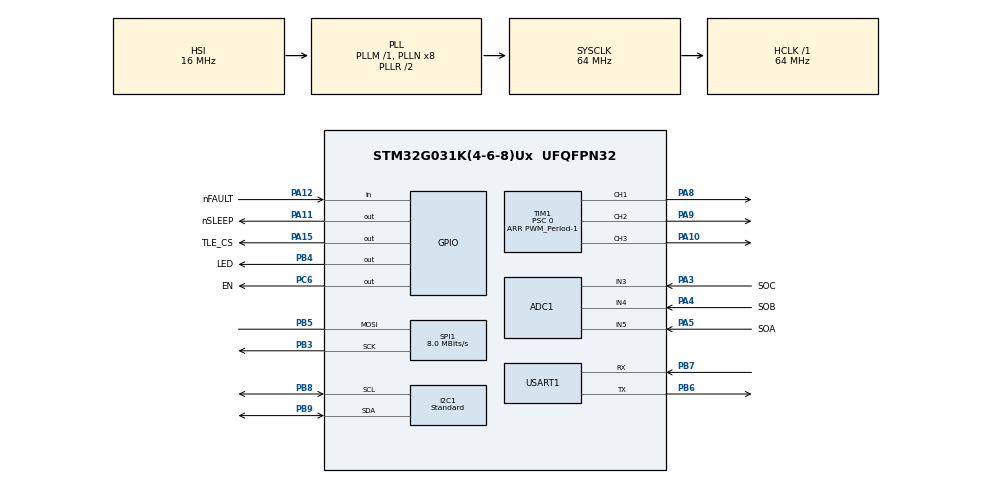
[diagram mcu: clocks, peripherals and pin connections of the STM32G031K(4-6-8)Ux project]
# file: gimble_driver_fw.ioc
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ADC1.Channel-0\#ChannelRegularConversion=ADC_CHANNEL_3
ADC1.Channel-1\#ChannelRegularConversion=ADC_CHANNEL_4
ADC1.Channel-2\#ChannelRegularConversion=ADC_CHANNEL_5
ADC1.Channel-3\#ChannelRegularConversion=ADC_CHANNEL_TEMPSENSOR
ADC1.Channel-4\#ChannelRegularConversion=ADC_CHANNEL_VREFINT
ADC1.ChannelTS=ADC_CHANNEL_TEMPSENSOR
ADC1.ChannelVREF=ADC_CHANNEL_VREFINT
ADC1.ClockPrescaler=ADC_CLOCK_SYNC_PCLK_DIV4
ADC1.ContinuousConvMode=DISABLE
ADC1.DMAContinuousRequests=ENABLE
ADC1.ExternalTrigConv=ADC_EXTERNALTRIG_T1_TRGO2
ADC1.ExternalTrigConvEdge=ADC_EXTERNALTRIGCONVEDGE_RISING
ADC1.NbrOfConversion=5
ADC1.NbrOfConversionFlag=1
ADC1.OversamplingMode=DISABLE
ADC1.Rank-0\#ChannelRegularConversion=1
ADC1.Rank-1\#ChannelRegularConversion=2
ADC1.Rank-2\#ChannelRegularConversion=3
ADC1.Rank-3\#ChannelRegularConversion=4
ADC1.Rank-4\#ChannelRegularConversion=5
ADC1.SamplingTime-0\#ChannelRegularConversion=ADC_SAMPLINGTIME_COMMON_1
ADC1.SamplingTime-1\#ChannelRegularConversion=ADC_SAMPLINGTIME_COMMON_1
ADC1.SamplingTime-2\#ChannelRegularConversion=ADC_SAMPLINGTIME_COMMON_1
ADC1.SamplingTime-3\#ChannelRegularConversion=ADC_SAMPLINGTIME_COMMON_1
ADC1.SamplingTime-4\#ChannelRegularConversion=ADC_SAMPLINGTIME_COMMON_1
ADC1.SamplingTimeCommon1=ADC_SAMPLETIME_39CYCLES_5
ADC1.SelectedChannel=ADC_CHANNEL_3|ADC_CHANNEL_4|ADC_CHANNEL_5|ADC_CHANNEL_TEMPSENSOR|ADC_CHANNEL_VREFINT
ADC1.TriggerFrequencyMode=ADC_TRIGGER_FREQ_HIGH
ADC1.master=1
Dma.ADC1.0.Direction=DMA_PERIPH_TO_MEMORY
Dma.ADC1.0.EventEnable=DISABLE
Dma.ADC1.0.Instance=DMA1_Channel1
Dma.ADC1.0.MemDataAlignment=DMA_MDATAALIGN_HALFWORD
Dma.ADC1.0.MemInc=DMA_MINC_ENABLE
Dma.ADC1.0.Mode=DMA_CIRCULAR
Dma.ADC1.0.PeriphDataAlignment=DMA_PDATAALIGN_HALFWORD
Dma.ADC1.0.PeriphInc=DMA_PINC_DISABLE
Dma.ADC1.0.Polarity=HAL_DMAMUX_REQ_GEN_RISING
Dma.ADC1.0.Priority=DMA_PRIORITY_HIGH
Dma.ADC1.0.RequestNumber=1
Dma.ADC1.0.SignalID=NONE
Dma.ADC1.0.SyncEnable=DISABLE
Dma.ADC1.0.SyncPolarity=HAL_DMAMUX_SYNC_NO_EVENT
Dma.ADC1.0.SyncRequestNumber=1
Dma.ADC1.0.SyncSignalID=NONE
Dma.Request0=ADC1
I2C1.I2C_Speed_Mode=I2C_Standard
I2C1.OwnAddress=I2C_ADD<<1
I2C1.Timing=0x10707DBC
Mcu.Family=STM32G0
Mcu.Name=STM32G031K(4-6-8)Ux
Mcu.Package=UFQFPN32
Mcu.UserConstants=PWM_Period,1280;I2C_ADD,0x10
NVIC.DMA1_Channel1_IRQn=true\:3\:0\:true\:false\:true\:false\:true
NVIC.I2C1_IRQn=true\:1\:0\:true\:false\:true\:true\:true
NVIC.TIM2_IRQn=true\:2\:0\:true\:false\:true\:true\:true
PA10.Signal=S_TIM1_CH3
PA11\ [PA9].GPIO_Label=nSLEEP
PA11\ [PA9].PinState=GPIO_PIN_SET
PA11\ [PA9].Signal=GPIO_Output
PA12\ [PA10].GPIO_Label=nFAULT
PA12\ [PA10].Signal=GPIO_Input
PA13.Mode=Serial_Wire
PA13.Signal=SYS_SWDIO
PA14-BOOT0.Mode=Serial_Wire
PA14-BOOT0.Signal=SYS_SWCLK
PA15.GPIO_Label=TLE_CS
PA15.Signal=GPIO_Output
PA3.GPIO_Label=SOC
PA3.Mode=IN3
PA3.Signal=ADC1_IN3
PA4.GPIO_Label=SOB
PA4.Mode=IN4
PA4.Signal=ADC1_IN4
PA5.GPIO_Label=SOA
PA5.Mode=IN5
PA5.Signal=ADC1_IN5
PA8.Signal=S_TIM1_CH1
PA9.Signal=S_TIM1_CH2
PB3.Mode=Simplex_Bidirectional_Master
PB3.Signal=SPI1_SCK
PB4.GPIO_Label=LED
PB4.Signal=GPIO_Output
PB5.Mode=Simplex_Bidirectional_Master
PB5.Signal=SPI1_MOSI
PB6.Mode=Asynchronous
PB6.Signal=USART1_TX
PB7.Mode=Asynchronous
PB7.Signal=USART1_RX
PB8.Mode=I2C
PB8.Signal=I2C1_SCL
PB9.Mode=I2C
PB9.Signal=I2C1_SDA
PC6.GPIO_Label=EN
PC6.GPIO_PuPd=GPIO_NOPULL
PC6.Signal=GPIO_Output
ProjectManager.HeapSize=0x200
ProjectManager.StackSize=0x400
ProjectManager.TargetToolchain=MDK-ARM V5.27
RCC.ADCFreq_Value=64000000
RCC.AHBFreq_Value=64000000
RCC.CortexFreq_Value=64000000
RCC.EXTERNAL_CLOCK_VALUE=12288000
RCC.HCLKFreq_Value=64000000
RCC.HSE_VALUE=8000000
RCC.HSI_VALUE=16000000
RCC.LSE_VALUE=32768
RCC.SYSCLKFreq_VALUE=64000000
RCC.SYSCLKSource=RCC_SYSCLKSOURCE_PLLCLK
RCC.VCOOutputFreq_Value=128000000
SH.S_TIM1_CH1.0=TIM1_CH1,PWM Generation1 CH1
SH.S_TIM1_CH2.0=TIM1_CH2,PWM Generation2 CH2
SH.S_TIM1_CH3.0=TIM1_CH3,PWM Generation3 CH3
SPI1.BaudRatePrescaler=SPI_BAUDRATEPRESCALER_8
SPI1.CLKPhase=SPI_PHASE_2EDGE
SPI1.CRCCalculation=SPI_CRCCALCULATION_DISABLE
SPI1.CalculateBaudRate=8.0 MBits/s
SPI1.DataSize=SPI_DATASIZE_16BIT
SPI1.Direction=SPI_DIRECTION_1LINE
SPI1.Mode=SPI_MODE_MASTER
SPI1.VirtualType=VM_MASTER
TIM1.AutoReloadPreload=TIM_AUTORELOAD_PRELOAD_ENABLE
TIM1.Channel-Output\ Compare4\ No\ Output=TIM_CHANNEL_4
TIM1.Channel-PWM\ Generation1\ CH1=TIM_CHANNEL_1
TIM1.Channel-PWM\ Generation2\ CH2=TIM_CHANNEL_2
TIM1.Channel-PWM\ Generation3\ CH3=TIM_CHANNEL_3
TIM1.CounterMode=TIM_COUNTERMODE_CENTERALIGNED1
TIM1.OC4Preload=ENABLE
TIM1.OCIdleState_4=TIM_OCIDLESTATE_RESET
TIM1.OCMode_4=TIM_OCMODE_TOGGLE
TIM1.OCPolarity_4=TIM_OCPOLARITY_HIGH
TIM1.Period=PWM_Period-1
TIM1.Prescaler=0
TIM1.Pulse-Output\ Compare4\ No\ Output=PWM_Period-5
TIM1.RepetitionCounter=1
TIM1.TIM_MasterOutputTrigger=TIM_TRGO_RESET
TIM1.TIM_MasterOutputTrigger2=TIM_TRGO2_OC4REF
TIM2.Period=1000-1
TIM2.Prescaler=64-1
USART1.VirtualMode-Asynchronous=VM_ASYNC
VP_ADC1_TempSens_Input.Mode=IN-TempSens
VP_ADC1_Vref_Input.Mode=IN-Vrefint
VP_SYS_VS_PIN8REMAP.Mode=PIN8REMAP
VP_TIM1_VS_ClockSourceINT.Mode=Internal
VP_TIM1_VS_no_output4.Mode=Output Compare4 No Output
VP_TIM2_VS_ClockSourceINT.Mode=Internal
board=custom

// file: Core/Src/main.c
/* USER CODE BEGIN Header */
/**
  ******************************************************************************
  * @file           : main.c
  * @brief          : Main program body
  ******************************************************************************
  * @attention
  *
  * Copyright (c) 2022 STMicroelectronics.
  * All rights reserved.
  *
  * This software is licensed under terms that can be found in the LICENSE file
  * in the root directory of this software component.
  * If no LICENSE file comes with this software, it is provided AS-IS.
  *
  ******************************************************************************
  */
/* USER CODE END Header */
#include "main.h"
#include "adc.h"
#include "dma.h"
#include "i2c.h"
#include "spi.h"
#include "tim.h"
#include "usart.h"
#include "gpio.h"

/* USER CODE BEGIN PV */
uint32_t time_cntr;
float target;
uint8_t controller_state, controller_error, motor_en;
uint8_t i2c_rx_buf[10];
uint8_t flag_500ms=0;
uint8_t running_state=0, error_code=0;

union flash_save
{
	struct
	{
		float val_f[10];
		uint8_t val_u8[8];
		float zero_electric_angle;
		int16_t sensor_direction;
		int16_t pole_pairs;
	}data;
	uint64_t buf[7];
}flash_save;
/* USER CODE END PV */

void SystemClock_Config(void);

int main(void)
{

  /* MCU Configuration--------------------------------------------------------*/

  /* Reset of all peripherals, Initializes the Flash interface and the Systick. */
  HAL_Init();

  /* Configure the system clock */
  SystemClock_Config();

  /* Initialize all configured peripherals */
  MX_GPIO_Init();
  MX_DMA_Init();
  MX_ADC1_Init();
  MX_I2C1_Init();
  MX_SPI1_Init();
  MX_TIM1_Init();
  MX_TIM2_Init();
  MX_USART1_UART_Init();
  /* USER CODE BEGIN 2 */
	HAL_TIM_PWM_Start(&htim1, TIM_CHANNEL_1);
	HAL_TIM_PWM_Start(&htim1, TIM_CHANNEL_2);
	HAL_TIM_PWM_Start(&htim1, TIM_CHANNEL_3);
	HAL_TIM_PWM_Start(&htim1, TIM_CHANNEL_4);
	HAL_TIM_Base_Start_IT(&htim2);

	HAL_ADC_Start_DMA(&hadc1, (uint32_t *)&adc_buf, 5);
	HAL_I2C_EnableListen_IT(&hi2c1);

	HAL_Delay(500);

	MagneticSensor_Init();
	LowsideCurrentSense(0.001,20,2,1,0);
	LowsideCurrentSense_Init();

	LPF_init();
	PID_init();

	voltage_power_supply=12;    //V
	voltage_limit=6.9;          //V，最大值需小于12/1.732=6.9，航模电机设置的小一点，不超过2；云台电机设置的大一点，不小于2，电压越大能达到的转速就越大
	velocity_limit=100;         //rad/s angleOpenloop() use it
	current_limit=2;            //A，foc_current和dc_current模式限制电流，不能为0。速度模式和位置模式起作用
	voltage_sensor_align=2;     //V     alignSensor() and driverAlign() use it，大功率电机0.5-1，小功率电机2-3
	torque_controller=Type_foc_current;
	motion_controller=Type_angle;
	target=0;

	STMFLASH_Read(FLASH_SECTOR31_START, flash_save.buf, 6);
	if(flash_save.data.val_u8[7]!=0xAA)
	{
		flash_save.data.val_f[0]=voltage_limit;
		flash_save.data.val_f[1]=velocity_limit;
		flash_save.data.val_f[2]=current_limit;
		flash_save.data.val_f[3]=voltage_sensor_align;
		flash_save.data.val_f[4]=PID_angle.P;
		flash_save.data.val_f[5]=PID_velocity.P;
		flash_save.data.val_f[6]=PID_velocity.I;
		flash_save.data.val_f[7]=PID_velocity.D;
		flash_save.data.val_f[8]=PID_current_q.P;
		flash_save.data.val_u8[0]=(uint8_t)torque_controller;
		flash_save.data.val_u8[1]=(uint8_t)motion_controller;
		flash_save.data.val_u8[7]=0xAA;
		STMFLASH_Write(FLASH_SECTOR31_START, flash_save.buf, 6);
	}
	else
	{
		voltage_limit       =flash_save.data.val_f[0];
		velocity_limit      =flash_save.data.val_f[1];
		current_limit       =flash_save.data.val_f[2];
		voltage_sensor_align=flash_save.data.val_f[3];
		PID_angle.P         =flash_save.data.val_f[4];
		PID_velocity.P      =flash_save.data.val_f[5];
		PID_velocity.I      =flash_save.data.val_f[6];
		PID_velocity.D      =flash_save.data.val_f[7];
		PID_current_q.P     =flash_save.data.val_f[8];
		torque_controller=(TorqueControlType)flash_save.data.val_u8[0];
		motion_controller=(MotionControlType)flash_save.data.val_u8[1];
	}

	Motor_init();
	STMFLASH_Read(FLASH_SECTOR30_START, &flash_save.buf[6], 1);
	if(flash_save.buf[6]==0xFFFFFFFFFFFFFFFF)
		Motor_initFOC(0,UNKNOWN);
	else
	{
		pole_pairs=(int)flash_save.data.pole_pairs;
		Motor_initFOC(flash_save.data.zero_electric_angle,(Direction)flash_save.data.sensor_direction);
	}

	running_state=1;
	motor_en=1;
  /* USER CODE END 2 */

  /* Infinite loop */
  /* USER CODE BEGIN WHILE */
  while (1)
  {
		if(motor_en)
		{
			move(target);
			loopFOC();
		}
		else
		{
			shaft_angle = shaftAngle();
		}
    /* USER CODE END WHILE */

    /* USER CODE BEGIN 3 */
		if(flag_500ms)
		{
			HAL_GPIO_TogglePin(LED_GPIO_Port, LED_Pin);
			flag_500ms=0;
		}
  }
  /* USER CODE END 3 */
}

void SystemClock_Config(void)
{
  RCC_OscInitTypeDef RCC_OscInitStruct = {0};
  RCC_ClkInitTypeDef RCC_ClkInitStruct = {0};

  /** Configure the main internal regulator output voltage
  */
  HAL_PWREx_ControlVoltageScaling(PWR_REGULATOR_VOLTAGE_SCALE1);
  /** Initializes the RCC Oscillators according to the specified parameters
  * in the RCC_OscInitTypeDef structure.
  */
  RCC_OscInitStruct.OscillatorType = RCC_OSCILLATORTYPE_HSI;
  RCC_OscInitStruct.HSIState = RCC_HSI_ON;
  RCC_OscInitStruct.HSIDiv = RCC_HSI_DIV1;
  RCC_OscInitStruct.HSICalibrationValue = RCC_HSICALIBRATION_DEFAULT;
  RCC_OscInitStruct.PLL.PLLState = RCC_PLL_ON;
  RCC_OscInitStruct.PLL.PLLSource = RCC_PLLSOURCE_HSI;
  RCC_OscInitStruct.PLL.PLLM = RCC_PLLM_DIV1;
  RCC_OscInitStruct.PLL.PLLN = 8;
  RCC_OscInitStruct.PLL.PLLP = RCC_PLLP_DIV2;
  RCC_OscInitStruct.PLL.PLLQ = RCC_PLLQ_DIV2;
  RCC_OscInitStruct.PLL.PLLR = RCC_PLLR_DIV2;
  if (HAL_RCC_OscConfig(&RCC_OscInitStruct) != HAL_OK)
  {
    Error_Handler();
  }
  /** Initializes the CPU, AHB and APB buses clocks
  */
  RCC_ClkInitStruct.ClockType = RCC_CLOCKTYPE_HCLK|RCC_CLOCKTYPE_SYSCLK
                              |RCC_CLOCKTYPE_PCLK1;
  RCC_ClkInitStruct.SYSCLKSource = RCC_SYSCLKSOURCE_PLLCLK;
  RCC_ClkInitStruct.AHBCLKDivider = RCC_SYSCLK_DIV1;
  RCC_ClkInitStruct.APB1CLKDivider = RCC_HCLK_DIV1;

  if (HAL_RCC_ClockConfig(&RCC_ClkInitStruct, FLASH_LATENCY_2) != HAL_OK)
  {
    Error_Handler();
  }
}

/* USER CODE BEGIN 4 */
uint32_t t_sum=0, inc_num=0;

void HAL_TIM_PeriodElapsedCallback(TIM_HandleTypeDef *htim)
{
	time_cntr++;

	if(time_cntr%500==0)
		flag_500ms=1;

	t_sum = t_sum + __LL_ADC_CALC_TEMPERATURE(v_vref, adc_buf[3], ADC_RESOLUTION_12B);
	inc_num++;
	if(inc_num==200)
	{
		temperature = t_sum / inc_num;
		t_sum = 0;
		inc_num = 0;
	}
}

uint8_t state=0;

union rx_data
{
	float val_f;
	uint32_t val_u32;
	uint16_t val_u16[2];
	uint8_t buf[4];
}rx_data;

union tx_data
{
	float val_f;
	uint32_t val_u32;
	uint16_t val_u16[2];
	uint8_t buf[4];
}tx_data;

void HAL_I2C_ListenCpltCallback(I2C_HandleTypeDef *hi2c)//!
{
	HAL_I2C_EnableListen_IT(hi2c); // slave is ready again
}

void HAL_I2C_AddrCallback(I2C_HandleTypeDef *hi2c, uint8_t TransferDirection, uint16_t AddrMatchCode)
{
	if( TransferDirection==I2C_DIRECTION_TRANSMIT )//need to receive
	{
		if(state==0)//receive reg addr
		{
			HAL_I2C_Slave_Sequential_Receive_IT(hi2c, i2c_rx_buf, 1, I2C_LAST_FRAME);
		}
		else//receive reg data
		{
			HAL_I2C_Slave_Sequential_Receive_IT(&hi2c1, rx_data.buf, 4, I2C_LAST_FRAME);
		}

	}
	else//need to send
	{
		switch (i2c_rx_buf[0])
		{
			case 0x01:
				tx_data.val_f=target;
			break;

			case 0x02:
				tx_data.val_f=shaft_angle;
			break;

			case 0x03:
				tx_data.val_f=shaft_velocity;
			break;

			case 0x04:
				tx_data.val_f=current.q;
			break;

			case 0x05:
				tx_data.val_u32=temperature;
			break;

			case 0x06:
				tx_data.buf[0]=running_state;
				tx_data.buf[1]=error_code;
			break;

			case 0x07:
				tx_data.buf[0]=(uint8_t)torque_controller;
			  tx_data.buf[1]=(uint8_t)motion_controller;
			break;

			case 0x08:
				tx_data.val_f=voltage_power_supply;
			break;

			case 0x09:
				tx_data.val_f=voltage_limit;
			break;

			case 0x10:
				tx_data.val_f=velocity_limit;
			break;

			case 0x11:
				tx_data.val_f=current_limit;
			break;

			case 0x12:
				tx_data.val_f=voltage_sensor_align;
			break;

			case 0x13:
				tx_data.val_f=PID_angle.P;
			break;

			case 0x14:
				tx_data.val_f=PID_velocity.P;
			break;

			case 0x15:
				tx_data.val_f=PID_velocity.I;
			break;

			case 0x16:
				tx_data.val_f=PID_velocity.D;
			break;

			case 0x17:
				tx_data.val_f=PID_current_q.P;
			break;

			default:
			break;
		}
		HAL_I2C_Slave_Seq_Transmit_IT(hi2c, tx_data.buf, 4,  I2C_LAST_FRAME);
		state=0;
	}

}

void HAL_I2C_SlaveRxCpltCallback(I2C_HandleTypeDef *hi2c)
{
	if(state==1)
	{
		switch (i2c_rx_buf[0])
		{
			case 0x01:
				target=rx_data.val_f;
			break;

			case 0x02:
			case 0x03:
			case 0x04:
			case 0x05:
			case 0x06:
			break;

			case 0x07:
				torque_controller=(TorqueControlType)rx_data.buf[0];
				motion_controller=(MotionControlType)rx_data.buf[1];

				if(torque_controller == Type_voltage)
					PID_velocity.limit = voltage_limit;  //速度模式的电流限制
				else
					PID_velocity.limit = current_limit;
			break;

			case 0x08:
				voltage_power_supply=tx_data.val_f;
			break;

			case 0x09:
				voltage_limit=rx_data.val_f;
			break;

			case 0x10:
				velocity_limit=rx_data.val_f;
			break;

			case 0x11:
				current_limit=rx_data.val_f;
			break;

			case 0x12:
				voltage_sensor_align=rx_data.val_f;
			break;

			case 0x13:
				PID_angle.P=rx_data.val_f;
			break;

			case 0x14:
				PID_velocity.P=rx_data.val_f;
			break;

			case 0x15:
				PID_velocity.I=rx_data.val_f;
			break;

			case 0x16:
				PID_velocity.D=rx_data.val_f;
			break;

			case 0x17:
				PID_velocity.D=rx_data.val_f;
			break;

			default:
			break;
		}
		state=0;
	}
	else
	{
		switch(i2c_rx_buf[0])
		{
			case 0x81:
				if(motor_en)
				{
					running_state=2;
					motor_en=0;
					M1_Disable;
				}
				else
				{
					running_state=1;
					motor_en=1;
					M1_Enable;
					target=shaft_angle;
				}
			break;

			case 0x82:
				flash_save.data.val_f[0]=voltage_limit;
				flash_save.data.val_f[1]=velocity_limit;
				flash_save.data.val_f[2]=current_limit;
				flash_save.data.val_f[3]=voltage_sensor_align;
				flash_save.data.val_f[4]=PID_angle.P;
				flash_save.data.val_f[5]=PID_velocity.P;
				flash_save.data.val_f[6]=PID_velocity.I;
				flash_save.data.val_f[7]=PID_velocity.D;
				flash_save.data.val_f[8]=PID_current_q.P;
				flash_save.data.val_u8[0]=(uint8_t)torque_controller;
				flash_save.data.val_u8[1]=(uint8_t)motion_controller;
				flash_save.data.val_u8[7]=0xAA;
				STMFLASH_Write(FLASH_SECTOR31_START, flash_save.buf, 6);
			break;

			case 0x83:
				flash_save.data.val_u8[7]=0xFF;
				STMFLASH_Write(FLASH_SECTOR31_START, flash_save.buf, 6);
			break;

			case 0x84:
				flash_save.data.sensor_direction=(int16_t)sensor_direction;
				flash_save.data.zero_electric_angle=zero_electric_angle;
				flash_save.data.pole_pairs=(int16_t)pole_pairs;
				STMFLASH_Write(FLASH_SECTOR30_START, &flash_save.buf[6], 1);
			break;

			case 0x85:
				flash_save.buf[6]=0xFFFFFFFFFFFFFFFF;
				STMFLASH_Write(FLASH_SECTOR30_START, &flash_save.buf[6], 1);
			break;

			default:
				state=1;
			break;
		}
	}
}

void HAL_I2C_SlaveTxCpltCallback(I2C_HandleTypeDef *hi2c)
{

}

void HAL_I2C_ErrorCallback(I2C_HandleTypeDef *hi2c)
{
	HAL_I2C_DeInit(hi2c);
	MX_I2C1_Init();
	HAL_I2C_Slave_Receive_IT(&hi2c1, i2c_rx_buf, 1);
}
/* USER CODE END 4 */

void Error_Handler(void)
{
  __disable_irq();
  while (1)
  {
  }
}
